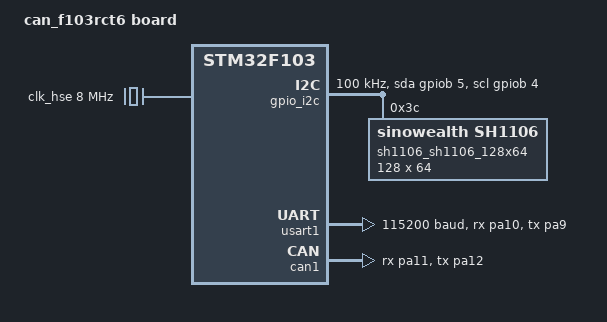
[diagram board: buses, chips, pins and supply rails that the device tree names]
/*
 * Copyright (c) 2020 WuhanStudio
 *
 * SPDX-License-Identifier: Apache-2.0
 */

/dts-v1/;
#include <st/f1/stm32f103Xc.dtsi>
#include <st/f1/stm32f103r(c-d-e)tx-pinctrl.dtsi>

/ {
	model = "can_f103rct6 board";
	compatible = "stm32f103";

	chosen {
		zephyr,console = &usart1;
		zephyr,shell-uart = &usart1;
		zephyr,sram = &sram0;
		zephyr,flash = &flash0;
		zephyr,code-partition = &slot0_partition;
		zephyr,display = &sh1106_sh1106_128x64;
		zephyr,canbus = &can1;
	};
	gpio_i2c {
		compatible = "gpio-i2c";
		scl-gpios = <&gpiob 4 GPIO_OPEN_DRAIN>;
		sda-gpios = <&gpiob 5 GPIO_OPEN_DRAIN>;
		clock-frequency = <I2C_BITRATE_STANDARD>;
		#address-cells = <1>;
		#size-cells = <0>;

		sh1106_sh1106_128x64: ssd1306@3c {
			compatible = "sinowealth,sh1106";
			ready-time-ms = <200>;
			reg = <0x3c>;
			width = <128>;
			height = <64>;
			segment-offset = <2>;
			page-offset = <0>;
			display-offset = <0>;
			multiplex-ratio = <63>;
			segment-remap;
			com-invdir;
			prechargep = <0x22>;
		};
	};
};

&clk_lsi {
	status = "okay";
};

&clk_hse {
	clock-frequency = <DT_FREQ_M(8)>;
	status = "okay";
};

&pll {
	mul = <9>;
	clocks = <&clk_hse>;
	status = "okay";
};

&rcc {
	clocks = <&pll>;
	clock-frequency = <DT_FREQ_M(72)>;
	ahb-prescaler = <1>;
	apb1-prescaler = <2>;
	apb2-prescaler = <1>;
	/* usbpre not set: USB clock = 72 / 1.5: 48MHz */
};

&usart1 {
	pinctrl-0 = <&usart1_rx_pa10 &usart1_tx_pa9>;
	pinctrl-names = "default";
	current-speed = <115200>;
	status = "okay";
};

&flash0 {
	partitions {
		compatible = "fixed-partitions";
		#address-cells = <1>;
		#size-cells = <1>;

		boot_partition: partition@0 {
			label = "mcuboot";
			reg = <0x00000000 DT_SIZE_K(32)>;
			read-only;
		};

		slot0_partition: partition@8000 {
			label = "image-0";
			reg = <0x00008000 DT_SIZE_K(96)>;
		};
		slot1_partition: partition@20000 {
			label = "image-1";
			reg = <0x00020000 DT_SIZE_K(96)>;
		};
		scratch_partition: partition@38000 {
			label = "image-scratch";
			reg = <0x00038000 DT_SIZE_K(32)>;
		};
	};
};

&can1 {
	pinctrl-0 = <&can_rx_pa11 &can_tx_pa12>;
	pinctrl-names = "default";
	status = "okay";
};

